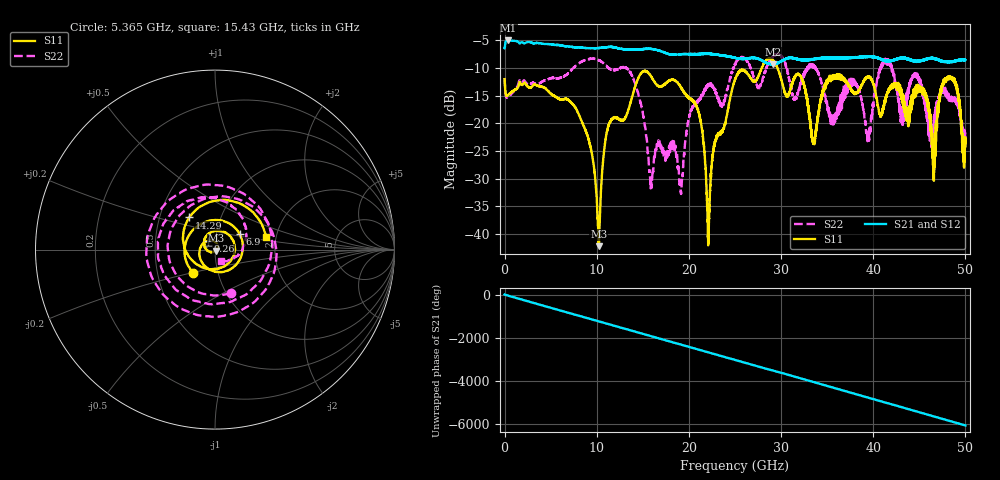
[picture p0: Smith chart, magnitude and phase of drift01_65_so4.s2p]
!Created with skrf (http://scikit-rf.org).
# Hz S RI R 50.0
!freq ReS11 ImS11 ReS21 ImS21 ReS12 ImS12 ReS22 ImS22
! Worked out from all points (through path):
!   10001 points, 300 kHz to 50 GHz, reference 50 ohm
!   highest |S21| = -5.05 dB at 395.3 MHz (marker M1); lowest = -9.4 dB at 29.16 GHz (marker M2)
!   group delay of S21, straight-line fit = 336 ps
!   lowest |S11| = -42.2 dB at 10.22 GHz (marker M3), VSWR 1.02, Z = 50.5 - j0.567 ohm
!   |S11| at or under -10 dB: start of sweep to 27.9 GHz; 29.59491 GHz to 29.59551 GHz (601.1 kHz wide, 0.00203 % of centre); 29.6 GHz to end of sweep
!   |S22| runs from -32.8 to -7.4 dB; largest |S21 - S12| = 0.012
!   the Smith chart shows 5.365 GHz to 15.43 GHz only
!   S11 on the Smith chart (normalised r, x): 5.365 GHz: 0.76, -0.20; 6.9 GHz: 1.29, +0.23; 9.26 GHz: 0.92, +0.09; 14.29 GHz: 0.71, +0.27; 15.43 GHz: 1.77, +0.28
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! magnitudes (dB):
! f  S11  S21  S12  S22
! 300 kHz  -12.0  -6.5  -6.6  -11.8
! 395.3 MHz  -14.9  -5.1  -5.1  -15.2
! 5.365 GHz  -15.0  -5.8  -5.8  -11.8
! 6.9 GHz  -15.8  -6.1  -6.1  -11.0
! 8.335 GHz  -19.5  -6.4  -6.3  -8.9
! 9.26 GHz  -23.8  -6.4  -6.4  -8.4
! 10.22 GHz  -42.2  -6.4  -6.4  -8.6
! 11.23 GHz  -20.6  -6.2  -6.2  -9.9
! 14.29 GHz  -12.8  -6.7  -6.7  -13.5
! 15.43 GHz  -10.7  -6.6  -6.6  -23.0
! 16.67 GHz  -13.3  -6.8  -6.8  -23.2
! 19.15 GHz  -13.5  -7.5  -7.5  -32.7
! 20.85 GHz  -17.0  -7.6  -7.5  -16.0
! 22.12 GHz  -40.9  -7.5  -7.4  -13.3
! 25 GHz  -12.1  -8.2  -8.2  -9.3
! 29.16 GHz  -8.7  -9.4  -9.4  -7.8
! 33.34 GHz  -22.5  -8.5  -8.4  -9.6
! 39.46 GHz  -11.6  -7.9  -8.0  -21.8
! 41.67 GHz  -13.8  -8.7  -8.7  -9.4
! 46.55 GHz  -25.4  -8.2  -8.3  -20.0
! 48.56 GHz  -11.8  -8.9  -8.8  -15.9
! 50 GHz  -23.2  -8.6  -8.5  -23.2
